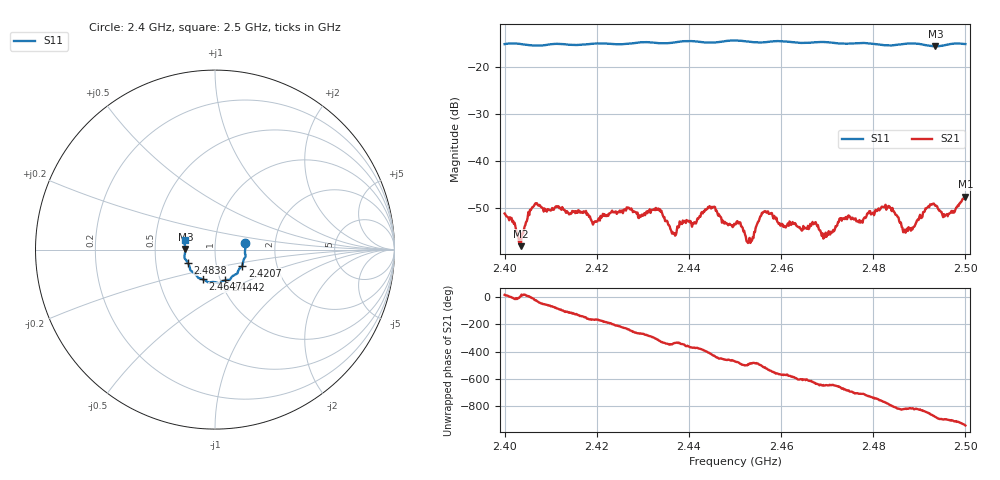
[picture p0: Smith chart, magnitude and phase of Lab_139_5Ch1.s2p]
# Hz S RI R 50
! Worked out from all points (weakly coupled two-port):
!   601 points, 2.4 GHz to 2.5 GHz, reference 50 ohm
!   highest |S21| = -47.53 dB at 2.5 GHz (marker M1); lowest = -58.0 dB at 2.4035 GHz (marker M2)
!   lowest |S11| = -15.7 dB at 2.4935 GHz (marker M3), VSWR 1.39, Z = 35.9 + j0.135 ohm
!   |S11| at or under -10 dB: start of sweep to end of sweep
!   S12 and S22 are empty: the file has one direction only
!   S11 on the Smith chart (normalised r, x): 2.4 GHz: 1.40, +0.11; 2.4207 GHz: 1.33, -0.25; 2.4442 GHz: 1.06, -0.37; 2.4647 GHz: 0.83, -0.28; 2.4838 GHz: 0.73, -0.11; 2.5 GHz: 0.71, +0.08
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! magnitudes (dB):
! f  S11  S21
! 2.4 GHz  -15.2  -51.1
! 2.4035 GHz  -15.2  -58.0
! 2.4067 GHz  -15.5  -49.0
! 2.4167 GHz  -15.3  -50.9
! 2.4207 GHz  -15.1  -52.6
! 2.4333 GHz  -15.0  -50.0
! 2.4368 GHz  -14.9  -55.3
! 2.4442 GHz  -14.9  -49.7
! 2.45 GHz  -14.4  -53.4
! 2.453 GHz  -14.7  -57.0
! 2.4567 GHz  -14.8  -50.7
! 2.4647 GHz  -15.0  -54.6
! 2.4667 GHz  -14.9  -53.4
! 2.4697 GHz  -14.8  -55.2
! 2.4732 GHz  -15.1  -52.6
! 2.4772 GHz  -15.0  -53.1
! 2.4833 GHz  -15.5  -49.5
! 2.4838 GHz  -15.5  -49.9
! 2.487 GHz  -15.1  -55.2
! 2.4935 GHz  -15.7  -49.5
! 2.4957 GHz  -15.4  -51.5
! 2.5 GHz  -15.2  -47.5
